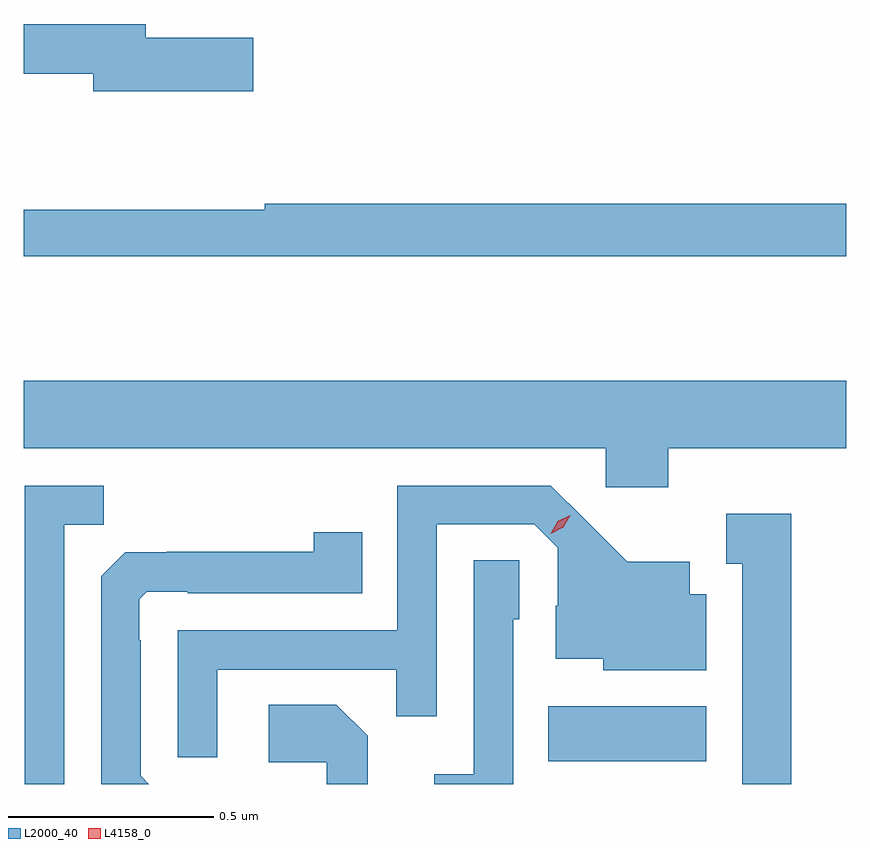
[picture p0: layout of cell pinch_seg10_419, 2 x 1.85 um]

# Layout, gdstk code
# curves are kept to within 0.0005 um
import gdstk
lib = gdstk.Library(unit=1e-6, precision=1e-09)
def R(c, l, rs):  # rectangles x0, y0, x1, y1
    for r in rs: c.add(gdstk.rectangle(r[:2], r[2:], *l))
def P(c, l, *ps):  # polygons
    for p in ps: c.add(gdstk.Polygon(p, *l))
L2000_40 = (2000, 40)
L4158_0 = (4158, 0)

pinch_seg10_419 = lib.new_cell('pinch_seg10_419')
R(pinch_seg10_419, L2000_40, [(582.256,1248.938,582.64,1249.072)])
P(pinch_seg10_419, L2000_40, [(581.539,1250.697),(581.278,1250.697),(581.278,1250.731),(580.981,1250.731),(580.981,1250.61),(581.15,1250.61),(581.15,1250.567),(581.539,1250.567)],
  [(582.981,1250.294),(581.567,1250.294),(581.567,1250.279),(580.981,1250.279),(580.981,1250.166),(582.981,1250.166)],
  [(582.548,1249.7),(582.981,1249.7),(582.981,1249.864),(580.981,1249.864),(580.981,1249.7),(582.396,1249.7),(582.396,1249.605),(582.548,1249.605)],
  [(581.079,1249.513),(581.175,1249.513),(581.175,1249.608),(580.983,1249.608),(580.983,1248.883),(581.079,1248.883)],
  [(581.451,1249.161),(581.887,1249.161),(581.887,1249.048),(581.985,1249.048),(581.985,1249.515),(582.222,1249.515),(582.279,1249.458),(582.279,1249.316),(582.275,1249.316),(582.275,1249.187),(582.39,1249.187),(582.39,1249.16),(582.64,1249.16),(582.64,1249.345),(582.601,1249.345),(582.601,1249.423),(582.449,1249.423),(582.262,1249.608),(581.889,1249.608),(581.889,1249.257),(581.355,1249.257),(581.355,1248.948),(581.451,1248.948)],
  [(582.847,1249.54),(582.689,1249.54),(582.689,1249.419),(582.728,1249.419),(582.728,1248.883),(582.847,1248.883)],
  [(581.265,1248.903),(581.265,1249.232),(581.262,1249.232),(581.262,1249.332),(581.28,1249.35),(581.38,1249.35),(581.38,1249.347),(581.804,1249.347),(581.804,1249.495),(581.686,1249.495),(581.686,1249.448),(581.329,1249.448),(581.329,1249.447),(581.228,1249.447),(581.169,1249.388),(581.169,1248.883),(581.285,1248.883)],
  [(582.171,1249.284),(582.186,1249.284),(582.186,1249.427),(582.075,1249.427),(582.075,1248.907),(581.979,1248.907),(581.979,1248.883),(582.171,1248.883)],
  [(581.817,1249),(581.741,1249.076),(581.577,1249.076),(581.577,1248.936),(581.718,1248.936),(581.718,1248.883),(581.817,1248.883)])
P(pinch_seg10_419, L4158_0, [(582.262,1249.492),(582.262,1249.492),(582.279,1249.522),(582.31,1249.537),(582.31,1249.537),(582.31,1249.537),(582.293,1249.507),(582.262,1249.492)])

lib.write_gds('pinch_seg10_419.gds')
